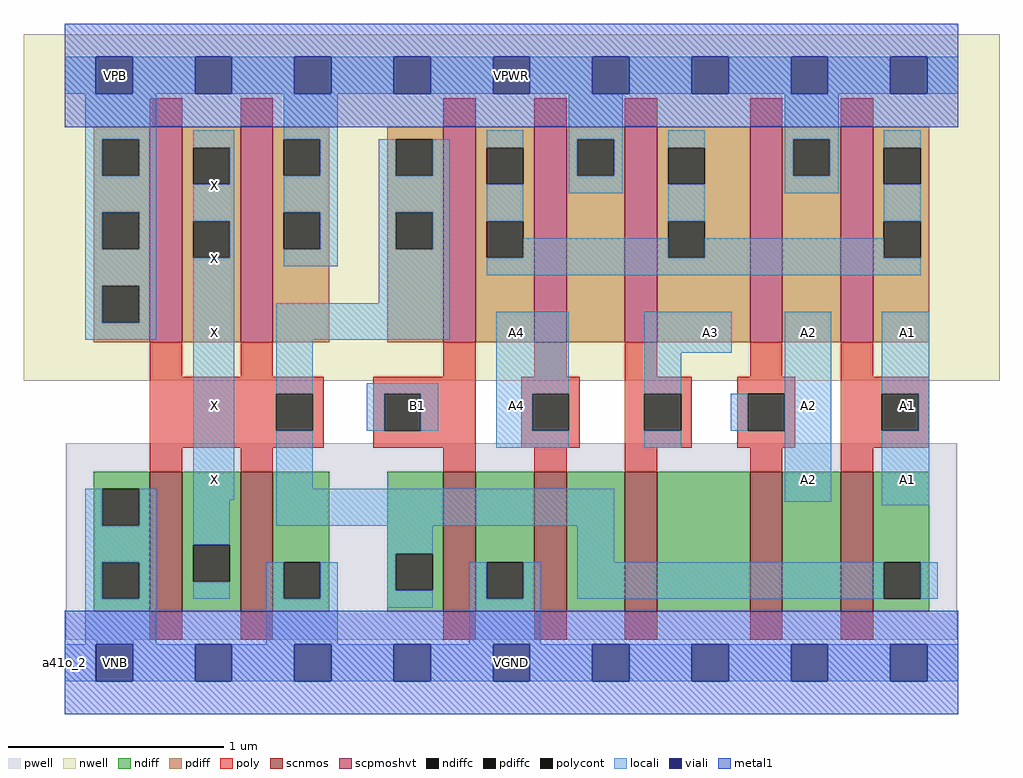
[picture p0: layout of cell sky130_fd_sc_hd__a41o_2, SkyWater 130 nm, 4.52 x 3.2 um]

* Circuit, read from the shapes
.subckt sky130_fd_sc_hd__a41o_2 A1 A2 A3 A4 B1 VGND VNB VPB VPWR X
XM1 X n1 VGND VNB sky130_fd_pr__nfet_01v8 w=0.65 l=0.15 m=2
XM2 VGND B1 n1 VNB sky130_fd_pr__nfet_01v8 w=0.65 l=0.15
XM3 n2 A4 VGND VNB sky130_fd_pr__nfet_01v8 w=0.65 l=0.15
XM4 n3 A3 n2 VNB sky130_fd_pr__nfet_01v8 w=0.65 l=0.15
XM5 n4 A2 n3 VNB sky130_fd_pr__nfet_01v8 w=0.65 l=0.15
XM6 n1 A1 n4 VNB sky130_fd_pr__nfet_01v8 w=0.65 l=0.15
XM7 X n1 VPWR VPB sky130_fd_pr__pfet_01v8_hvt w=1 l=0.15 m=2
XM8 n5 B1 n1 VPB sky130_fd_pr__pfet_01v8_hvt w=1 l=0.15
XM9 VPWR A4 n5 VPB sky130_fd_pr__pfet_01v8_hvt w=1 l=0.15
XM10 n5 A3 VPWR VPB sky130_fd_pr__pfet_01v8_hvt w=1 l=0.15
XM11 VPWR A2 n5 VPB sky130_fd_pr__pfet_01v8_hvt w=1 l=0.15
XM12 n5 A1 VPWR VPB sky130_fd_pr__pfet_01v8_hvt w=1 l=0.15
.ends

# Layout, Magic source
magic
tech sky130B
magscale 1 2
<< nwell >>
rect -38 261 866 582
<< pwell >>
rect 1 21 827 203
rect 30 -17 64 21
<< scnmos >>
rect 79 47 109 177
rect 163 47 193 177
rect 351 47 381 177
rect 435 47 465 177
rect 519 47 549 177
rect 635 47 665 177
rect 719 47 749 177
<< scpmoshvt >>
rect 79 297 109 497
rect 163 297 193 497
rect 351 297 381 497
rect 435 297 465 497
rect 519 297 549 497
rect 635 297 665 497
rect 719 297 749 497
<< ndiff >>
rect 27 161 79 177
rect 27 127 35 161
rect 69 127 79 161
rect 27 93 79 127
rect 27 59 35 93
rect 69 59 79 93
rect 27 47 79 59
rect 109 109 163 177
rect 109 75 119 109
rect 153 75 163 109
rect 109 47 163 75
rect 193 93 245 177
rect 193 59 203 93
rect 237 59 245 93
rect 193 47 245 59
rect 299 101 351 177
rect 299 67 307 101
rect 341 67 351 101
rect 299 47 351 67
rect 381 93 435 177
rect 381 59 391 93
rect 425 59 435 93
rect 381 47 435 59
rect 465 47 519 177
rect 549 47 635 177
rect 665 47 719 177
rect 749 93 801 177
rect 749 59 759 93
rect 793 59 801 93
rect 749 47 801 59
<< pdiff >>
rect 27 485 79 497
rect 27 451 35 485
rect 69 451 79 485
rect 27 417 79 451
rect 27 383 35 417
rect 69 383 79 417
rect 27 349 79 383
rect 27 315 35 349
rect 69 315 79 349
rect 27 297 79 315
rect 109 477 163 497
rect 109 443 119 477
rect 153 443 163 477
rect 109 409 163 443
rect 109 375 119 409
rect 153 375 163 409
rect 109 297 163 375
rect 193 485 245 497
rect 193 451 203 485
rect 237 451 245 485
rect 193 417 245 451
rect 193 383 203 417
rect 237 383 245 417
rect 193 297 245 383
rect 299 485 351 497
rect 299 451 307 485
rect 341 451 351 485
rect 299 417 351 451
rect 299 383 307 417
rect 341 383 351 417
rect 299 297 351 383
rect 381 477 435 497
rect 381 443 391 477
rect 425 443 435 477
rect 381 409 435 443
rect 381 375 391 409
rect 425 375 435 409
rect 381 297 435 375
rect 465 485 519 497
rect 465 451 475 485
rect 509 451 519 485
rect 465 297 519 451
rect 549 477 635 497
rect 549 443 559 477
rect 593 443 635 477
rect 549 409 635 443
rect 549 375 559 409
rect 593 375 635 409
rect 549 297 635 375
rect 665 485 719 497
rect 665 451 675 485
rect 709 451 719 485
rect 665 297 719 451
rect 749 477 801 497
rect 749 443 759 477
rect 793 443 801 477
rect 749 409 801 443
rect 749 375 759 409
rect 793 375 801 409
rect 749 297 801 375
<< ndiffc >>
rect 35 127 69 161
rect 35 59 69 93
rect 119 75 153 109
rect 203 59 237 93
rect 307 67 341 101
rect 391 59 425 93
rect 759 59 793 93
<< pdiffc >>
rect 35 451 69 485
rect 35 383 69 417
rect 35 315 69 349
rect 119 443 153 477
rect 119 375 153 409
rect 203 451 237 485
rect 203 383 237 417
rect 307 451 341 485
rect 307 383 341 417
rect 391 443 425 477
rect 391 375 425 409
rect 475 451 509 485
rect 559 443 593 477
rect 559 375 593 409
rect 675 451 709 485
rect 759 443 793 477
rect 759 375 793 409
<< poly >>
rect 79 497 109 523
rect 163 497 193 523
rect 351 497 381 523
rect 435 497 465 523
rect 519 497 549 523
rect 635 497 665 523
rect 719 497 749 523
rect 79 265 109 297
rect 163 265 193 297
rect 351 265 381 297
rect 435 265 465 297
rect 519 265 549 297
rect 635 265 665 297
rect 719 265 749 297
rect 79 249 240 265
rect 79 215 196 249
rect 230 215 240 249
rect 79 199 240 215
rect 286 249 381 265
rect 286 215 296 249
rect 330 215 381 249
rect 286 199 381 215
rect 423 249 477 265
rect 423 215 433 249
rect 467 215 477 249
rect 423 199 477 215
rect 519 249 581 265
rect 519 215 537 249
rect 571 215 581 249
rect 519 199 581 215
rect 623 249 677 265
rect 623 215 633 249
rect 667 215 677 249
rect 623 199 677 215
rect 719 249 801 265
rect 719 215 757 249
rect 791 215 801 249
rect 719 199 801 215
rect 79 177 109 199
rect 163 177 193 199
rect 351 177 381 199
rect 435 177 465 199
rect 519 177 549 199
rect 635 177 665 199
rect 719 177 749 199
rect 79 21 109 47
rect 163 21 193 47
rect 351 21 381 47
rect 435 21 465 47
rect 519 21 549 47
rect 635 21 665 47
rect 719 21 749 47
<< polycont >>
rect 196 215 230 249
rect 296 215 330 249
rect 433 215 467 249
rect 537 215 571 249
rect 633 215 667 249
rect 757 215 791 249
<< locali >>
rect 0 527 29 561
rect 63 527 121 561
rect 155 527 213 561
rect 247 527 305 561
rect 339 527 397 561
rect 431 527 489 561
rect 523 527 581 561
rect 615 527 673 561
rect 707 527 765 561
rect 799 527 828 561
rect 19 485 85 527
rect 19 451 35 485
rect 69 451 85 485
rect 19 417 85 451
rect 19 383 35 417
rect 69 383 85 417
rect 19 349 85 383
rect 19 315 35 349
rect 69 315 85 349
rect 19 299 85 315
rect 119 477 157 493
rect 153 443 157 477
rect 119 409 157 443
rect 153 375 157 409
rect 19 127 35 161
rect 69 127 85 161
rect 19 93 85 127
rect 19 59 35 93
rect 69 59 85 93
rect 119 151 157 375
rect 203 485 253 527
rect 237 451 253 485
rect 203 417 253 451
rect 237 383 253 417
rect 203 367 253 383
rect 291 451 307 485
rect 341 451 357 485
rect 291 417 357 451
rect 291 383 307 417
rect 341 383 357 417
rect 291 333 357 383
rect 391 477 425 493
rect 391 409 425 443
rect 467 485 517 527
rect 467 451 475 485
rect 509 451 517 485
rect 467 435 517 451
rect 559 477 593 493
rect 559 409 593 443
rect 667 485 717 527
rect 667 451 675 485
rect 709 451 717 485
rect 667 435 717 451
rect 759 477 793 493
rect 425 375 559 393
rect 759 409 793 443
rect 593 375 759 393
rect 391 359 793 375
rect 196 299 357 333
rect 196 249 230 299
rect 280 249 346 259
rect 280 215 296 249
rect 330 215 346 249
rect 400 249 467 325
rect 400 215 433 249
rect 196 161 230 215
rect 400 199 467 215
rect 537 287 618 325
rect 537 249 571 287
rect 617 215 633 249
rect 537 199 571 215
rect 119 109 153 151
rect 196 127 509 161
rect 667 149 710 325
rect 757 249 801 325
rect 791 215 801 249
rect 757 146 801 215
rect 299 101 341 127
rect 119 59 153 75
rect 187 59 203 93
rect 237 59 253 93
rect 19 17 85 59
rect 187 17 253 59
rect 299 67 307 101
rect 475 93 509 127
rect 299 51 341 67
rect 375 59 391 93
rect 425 59 441 93
rect 475 59 759 93
rect 793 59 809 93
rect 375 17 441 59
rect 0 -17 29 17
rect 63 -17 121 17
rect 155 -17 213 17
rect 247 -17 305 17
rect 339 -17 397 17
rect 431 -17 489 17
rect 523 -17 581 17
rect 615 -17 673 17
rect 707 -17 765 17
rect 799 -17 828 17
<< viali >>
rect 29 527 63 561
rect 121 527 155 561
rect 213 527 247 561
rect 305 527 339 561
rect 397 527 431 561
rect 489 527 523 561
rect 581 527 615 561
rect 673 527 707 561
rect 765 527 799 561
rect 29 -17 63 17
rect 121 -17 155 17
rect 213 -17 247 17
rect 305 -17 339 17
rect 397 -17 431 17
rect 489 -17 523 17
rect 581 -17 615 17
rect 673 -17 707 17
rect 765 -17 799 17
<< metal1 >>
rect 0 561 828 592
rect 0 527 29 561
rect 63 527 121 561
rect 155 527 213 561
rect 247 527 305 561
rect 339 527 397 561
rect 431 527 489 561
rect 523 527 581 561
rect 615 527 673 561
rect 707 527 765 561
rect 799 527 828 561
rect 0 496 828 527
rect 0 17 828 48
rect 0 -17 29 17
rect 63 -17 121 17
rect 155 -17 213 17
rect 247 -17 305 17
rect 339 -17 397 17
rect 431 -17 489 17
rect 523 -17 581 17
rect 615 -17 673 17
rect 707 -17 765 17
rect 799 -17 828 17
rect 0 -48 828 -17
<< labels >>
flabel locali s 310 221 344 255 0 FreeSans 200 0 0 0 B1
port 5 nsew signal input
flabel locali s 764 221 798 255 0 FreeSans 200 0 0 0 A1
port 1 nsew signal input
flabel locali s 764 289 798 323 0 FreeSans 200 0 0 0 A1
port 1 nsew signal input
flabel locali s 122 153 156 187 0 FreeSans 200 0 0 0 X
port 10 nsew signal output
flabel locali s 672 153 706 187 0 FreeSans 200 0 0 0 A2
port 2 nsew signal input
flabel locali s 764 153 798 187 0 FreeSans 200 0 0 0 A1
port 1 nsew signal input
flabel locali s 402 289 436 323 0 FreeSans 200 0 0 0 A4
port 4 nsew signal input
flabel locali s 581 289 615 323 0 FreeSans 200 0 0 0 A3
port 3 nsew signal input
flabel locali s 122 289 156 323 0 FreeSans 200 0 0 0 X
port 10 nsew signal output
flabel locali s 122 357 156 391 0 FreeSans 200 0 0 0 X
port 10 nsew signal output
flabel locali s 122 425 156 459 0 FreeSans 200 0 0 0 X
port 10 nsew signal output
flabel locali s 122 221 156 255 0 FreeSans 200 0 0 0 X
port 10 nsew signal output
flabel locali s 402 221 436 255 0 FreeSans 200 0 0 0 A4
port 4 nsew signal input
flabel locali s 672 289 706 323 0 FreeSans 200 0 0 0 A2
port 2 nsew signal input
flabel locali s 672 221 706 255 0 FreeSans 200 0 0 0 A2
port 2 nsew signal input
flabel pwell s 30 -17 64 17 0 FreeSans 200 0 0 0 VNB
port 7 nsew ground bidirectional
flabel nwell s 30 527 64 561 0 FreeSans 200 0 0 0 VPB
port 8 nsew power bidirectional
flabel metal1 s 30 -17 64 17 0 FreeSans 200 0 0 0 VGND
port 6 nsew ground bidirectional abutment
flabel metal1 s 30 527 64 561 0 FreeSans 200 0 0 0 VPWR
port 9 nsew power bidirectional abutment
rlabel comment s 0 0 0 0 4 a41o_2
rlabel metal1 s 0 -48 828 48 1 VGND
port 6 nsew ground bidirectional abutment
rlabel metal1 s 0 496 828 592 1 VPWR
port 9 nsew power bidirectional abutment
<< properties >>
string FIXED_BBOX 0 0 828 544
string GDS_END 3517434
string GDS_FILE $PDKPATH/libs.ref/sky130_fd_sc_hd/gds/sky130_fd_sc_hd.gds
string GDS_START 3509180
string LEFclass CORE
string LEFsite unithd
string LEFsymmetry X Y R90
string path 0.000 0.000 20.700 0.000 
<< end >>
